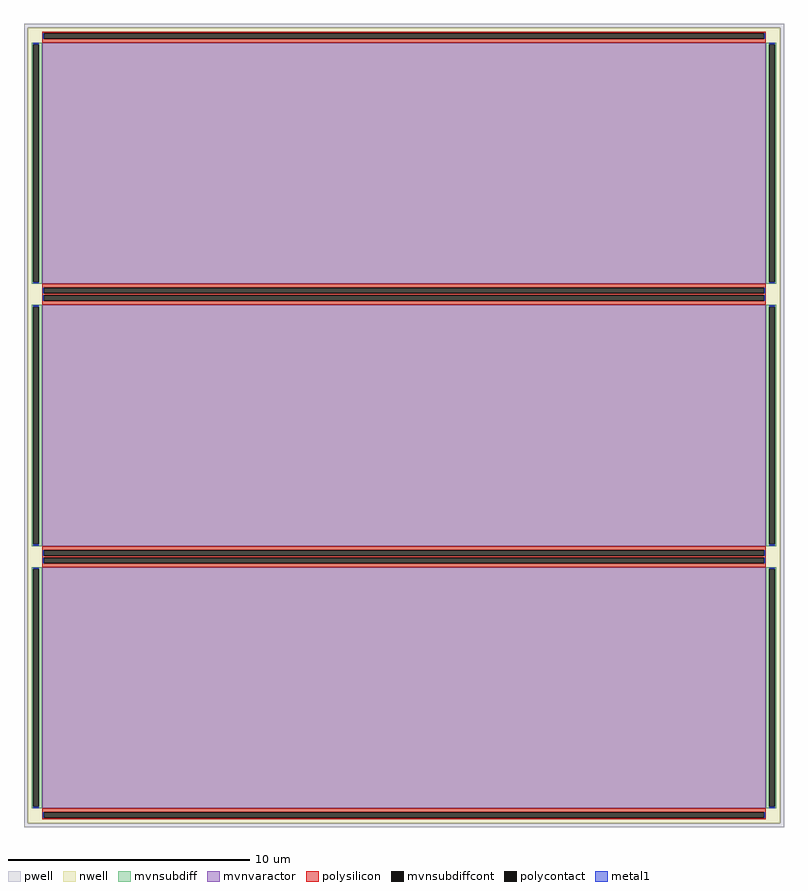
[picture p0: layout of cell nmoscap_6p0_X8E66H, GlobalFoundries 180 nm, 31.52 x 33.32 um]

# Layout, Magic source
magic
tech gf180mcuD
magscale 1 10
<< nwell >>
rect -3120 -3300 3120 3300
<< pwell >>
rect -3152 3300 3152 3332
rect -3152 -3300 -3120 3300
rect 3120 -3300 3152 3300
rect -3152 -3332 3152 -3300
<< mvnsubdiff >>
rect -3088 3163 -3000 3176
rect -3088 1189 -3075 3163
rect -3029 1189 -3000 3163
rect -3088 1176 -3000 1189
rect 3000 3163 3088 3176
rect 3000 1189 3029 3163
rect 3075 1189 3088 3163
rect 3000 1176 3088 1189
rect -3088 987 -3000 1000
rect -3088 -987 -3075 987
rect -3029 -987 -3000 987
rect -3088 -1000 -3000 -987
rect 3000 987 3088 1000
rect 3000 -987 3029 987
rect 3075 -987 3088 987
rect 3000 -1000 3088 -987
rect -3088 -1189 -3000 -1176
rect -3088 -3163 -3075 -1189
rect -3029 -3163 -3000 -1189
rect -3088 -3176 -3000 -3163
rect 3000 -1189 3088 -1176
rect 3000 -3163 3029 -1189
rect 3075 -3163 3088 -1189
rect 3000 -3176 3088 -3163
<< mvnsubdiffcont >>
rect -3075 1189 -3029 3163
rect 3029 1189 3075 3163
rect -3075 -987 -3029 987
rect 3029 -987 3075 987
rect -3075 -3163 -3029 -1189
rect 3029 -3163 3075 -1189
<< mvnvaractor >>
rect -3000 1176 3000 3176
rect -3000 -1000 3000 1000
rect -3000 -3176 3000 -1176
<< polysilicon >>
rect -3000 3255 3000 3268
rect -3000 3209 -2987 3255
rect 2987 3209 3000 3255
rect -3000 3176 3000 3209
rect -3000 1143 3000 1176
rect -3000 1097 -2987 1143
rect 2987 1097 3000 1143
rect -3000 1079 3000 1097
rect -3000 1033 -2987 1079
rect 2987 1033 3000 1079
rect -3000 1000 3000 1033
rect -3000 -1033 3000 -1000
rect -3000 -1079 -2987 -1033
rect 2987 -1079 3000 -1033
rect -3000 -1097 3000 -1079
rect -3000 -1143 -2987 -1097
rect 2987 -1143 3000 -1097
rect -3000 -1176 3000 -1143
rect -3000 -3209 3000 -3176
rect -3000 -3255 -2987 -3209
rect 2987 -3255 3000 -3209
rect -3000 -3268 3000 -3255
<< polycontact >>
rect -2987 3209 2987 3255
rect -2987 1097 2987 1143
rect -2987 1033 2987 1079
rect -2987 -1079 2987 -1033
rect -2987 -1143 2987 -1097
rect -2987 -3255 2987 -3209
<< metal1 >>
rect -2998 3209 -2987 3255
rect 2987 3209 2998 3255
rect -3075 3163 -3029 3174
rect -3075 1178 -3029 1189
rect 3029 3163 3075 3174
rect 3029 1178 3075 1189
rect -2998 1097 -2987 1143
rect 2987 1097 2998 1143
rect -2998 1033 -2987 1079
rect 2987 1033 2998 1079
rect -3075 987 -3029 998
rect -3075 -998 -3029 -987
rect 3029 987 3075 998
rect 3029 -998 3075 -987
rect -2998 -1079 -2987 -1033
rect 2987 -1079 2998 -1033
rect -2998 -1143 -2987 -1097
rect 2987 -1143 2998 -1097
rect -3075 -1189 -3029 -1178
rect -3075 -3174 -3029 -3163
rect 3029 -1189 3075 -1178
rect 3029 -3174 3075 -3163
rect -2998 -3255 -2987 -3209
rect 2987 -3255 2998 -3209
<< properties >>
string gencell nmoscap_6p0
string library gf180mcu
string parameters w 10 l 30 m 3 nf 1 diffcov 100 polycov 100 guard 0 glc 0 grc 0 gtc 0 gbc 0 tbcov 100 rlcov 100 topc 0 botc 0 poverlap 1 doverlap 1 lmin 0.28 wmin 0.3 class mosfet full_metal 0 compatible {nmoscap_3p3 nmoscap_6p0}
<< end >>
